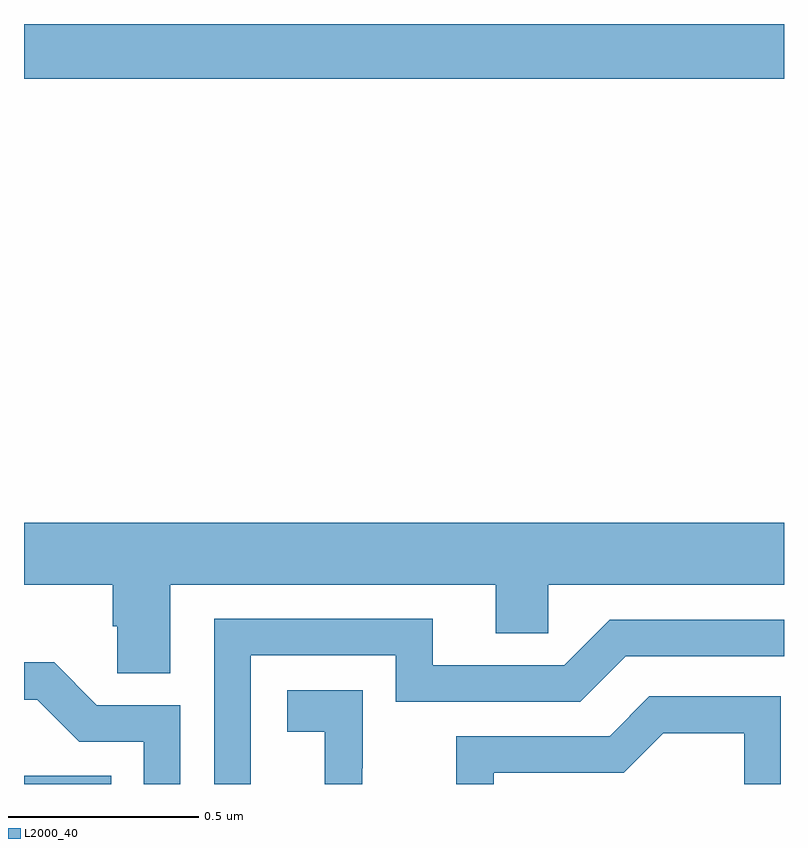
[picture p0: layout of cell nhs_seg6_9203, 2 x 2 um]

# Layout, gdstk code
import gdstk
lib = gdstk.Library(unit=1e-6, precision=1e-09)
def R(c, l, rs):  # rectangles x0, y0, x1, y1
    for r in rs: c.add(gdstk.rectangle(r[:2], r[2:], *l))
def P(c, l, *ps):  # polygons
    for p in ps: c.add(gdstk.Polygon(p, *l))
L2000_40 = (2000, 40)

nhs_seg6_9203 = lib.new_cell('nhs_seg6_9203')
R(nhs_seg6_9203, L2000_40, [(231,925.5,231.23,925.522), (231,927.356,233,927.5)])
P(nhs_seg6_9203, L2000_40, [(231,926.024),(231.233,926.024),(231.233,925.915),(231.246,925.915),(231.246,925.792),(231.385,925.792),(231.385,926.024),(232.241,926.024),(232.241,925.897),(232.38,925.897),(232.38,926.024),(233,926.024),(233,926.188),(231,926.188)],
  [(231.597,925.839),(231.978,925.839),(231.978,925.716),(232.464,925.716),(232.584,925.836),(233,925.836),(233,925.932),(232.542,925.932),(232.422,925.812),(232.075,925.812),(232.075,925.935),(231.501,925.935),(231.501,925.5),(231.597,925.5)],
  [(231.411,925.707),(231.192,925.707),(231.079,925.82),(231,925.82),(231,925.722),(231.035,925.722),(231.146,925.611),(231.315,925.611),(231.315,925.5),(231.411,925.5)],
  [(231.89,925.541),(231.891,925.541),(231.891,925.747),(231.693,925.747),(231.693,925.637),(231.791,925.637),(231.791,925.5),(231.89,925.5)],
  [(232.236,925.53),(232.578,925.53),(232.682,925.634),(232.896,925.634),(232.896,925.5),(232.992,925.5),(232.992,925.731),(232.646,925.731),(232.541,925.626),(232.138,925.626),(232.138,925.5),(232.236,925.5)])

lib.write_gds('nhs_seg6_9203.gds')
